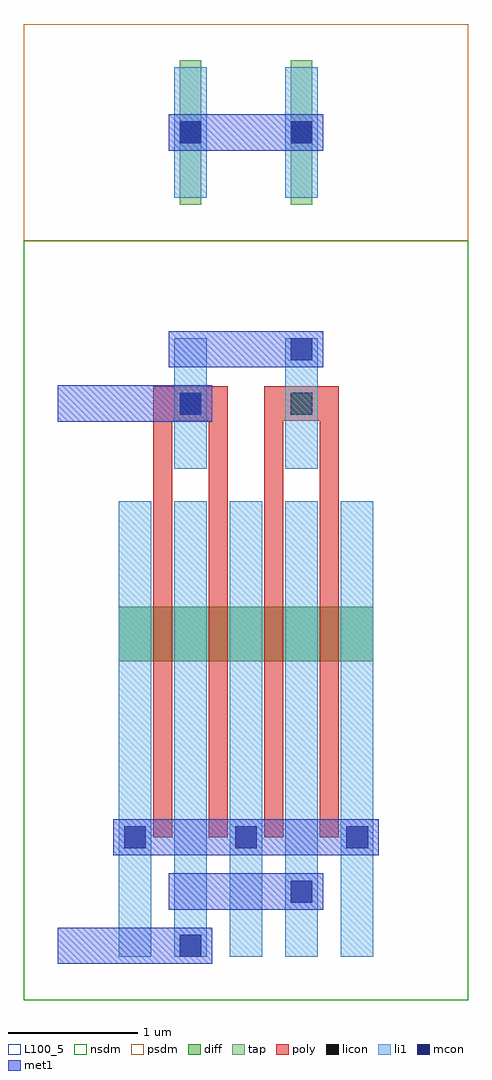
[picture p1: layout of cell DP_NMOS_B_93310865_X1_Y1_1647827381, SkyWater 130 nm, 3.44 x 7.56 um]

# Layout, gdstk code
import gdstk
lib = gdstk.Library(unit=1e-6, precision=1e-09)
def R(c, l, rs):  # rectangles x0, y0, x1, y1
    for r in rs: c.add(gdstk.rectangle(r[:2], r[2:], *l))
def A(c, l, x, y, w, h, nx, ny, dx, dy):  # array of equal rectangles
    R(c, l, [(x+i*dx, y+j*dy, x+i*dx+w, y+j*dy+h) for i in range(nx) for j in range(ny)])
diff = (65, 20)
tap = (65, 44)
poly = (66, 20)
licon = (66, 44)
li1 = (67, 20)
mcon = (67, 44)
met1 = (68, 20)
nsdm = (93, 44)
psdm = (94, 20)
L100_5 = (100, 5)

dp_nmos_b_93310865_x1_y1 = lib.new_cell('DP_NMOS_B_93310865_X1_Y1_1647827381')
R(dp_nmos_b_93310865_x1_y1, diff, [(0.735,2.625,2.705,3.045)])
R(dp_nmos_b_93310865_x1_y1, tap, [(1.205,6.16,1.375,7.28), (2.065,6.16,2.235,7.28)])
A(dp_nmos_b_93310865_x1_y1, poly, 1, 1.26, 0.15, 3.36, 4, 1, 0.43, 0)
R(dp_nmos_b_93310865_x1_y1, poly, [(1,4.485,1.58,4.755), (1.86,4.485,2.44,4.755)])
R(dp_nmos_b_93310865_x1_y1, licon, [(1.205,4.535,1.375,4.705), (2.065,4.535,2.235,4.705), (1.205,6.635,1.375,6.805), (2.065,6.635,2.235,6.805)])
A(dp_nmos_b_93310865_x1_y1, li1, 0.735, 0.335, 0.25, 3.53, 5, 1, 0.43, 0)
R(dp_nmos_b_93310865_x1_y1, li1, [(1.165,4.115,1.415,5.125), (2.025,4.115,2.275,5.125), (1.165,6.215,1.415,7.225), (2.025,6.215,2.275,7.225)])
A(dp_nmos_b_93310865_x1_y1, mcon, 0.775, 1.175, 0.17, 0.17, 3, 1, 0.86, 0)
R(dp_nmos_b_93310865_x1_y1, mcon, [(1.205,0.335,1.375,0.505), (2.065,0.755,2.235,0.925), (1.205,4.535,1.375,4.705), (2.065,4.955,2.235,5.125), (1.205,6.635,1.375,6.805), (2.065,6.635,2.235,6.805)])
R(dp_nmos_b_93310865_x1_y1, met1, [(0.26,0.28,1.46,0.56), (1.12,0.7,2.32,0.98), (0.69,1.12,2.75,1.4), (0.26,4.48,1.46,4.76), (1.12,4.9,2.32,5.18), (1.12,6.58,2.32,6.86)])
R(dp_nmos_b_93310865_x1_y1, nsdm, [(0,0,3.44,5.88)])
R(dp_nmos_b_93310865_x1_y1, psdm, [(0,5.88,3.44,7.56)])
R(dp_nmos_b_93310865_x1_y1, L100_5, [(0,0,3.44,7.56)])

lib.write_gds('DP_NMOS_B_93310865_X1_Y1_1647827381.gds')
